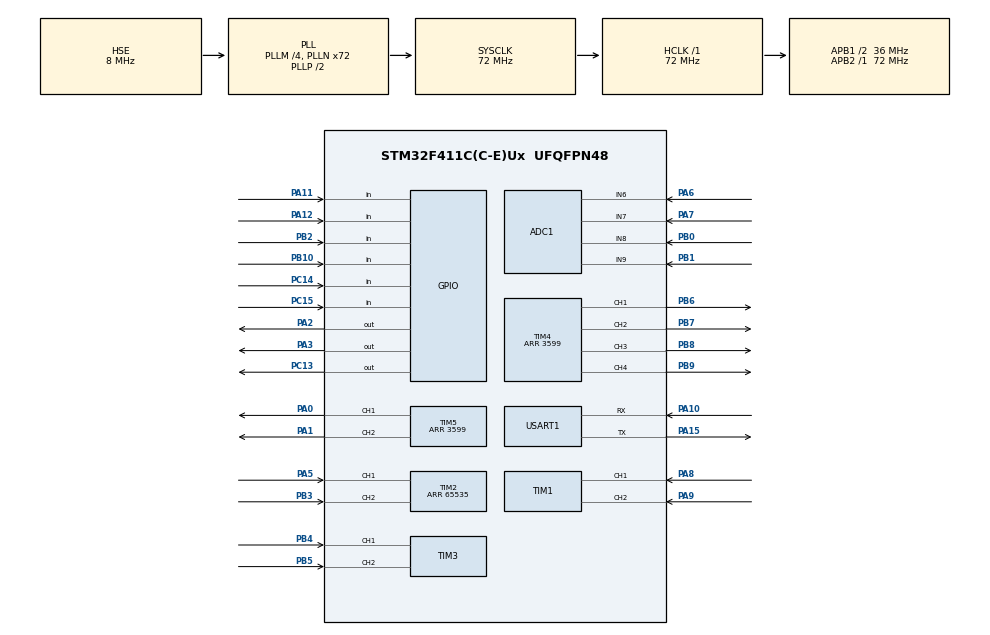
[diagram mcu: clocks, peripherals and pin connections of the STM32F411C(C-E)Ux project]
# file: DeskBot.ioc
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ADC1.Channel-3\#ChannelRegularConversion=ADC_CHANNEL_6
ADC1.NbrOfConversionFlag=1
ADC1.Rank-3\#ChannelRegularConversion=1
ADC1.SamplingTime-3\#ChannelRegularConversion=ADC_SAMPLETIME_3CYCLES
ADC1.master=1
Mcu.Family=STM32F4
Mcu.Name=STM32F411C(C-E)Ux
Mcu.Package=UFQFPN48
NVIC.PriorityGroup=NVIC_PRIORITYGROUP_4
NVIC.TIM1_BRK_TIM9_IRQn=true\:0\:0\:false\:false\:true\:true\:true\:true
NVIC.TIM1_TRG_COM_TIM11_IRQn=true\:0\:0\:false\:false\:true\:true\:true\:true
NVIC.TIM1_UP_TIM10_IRQn=true\:0\:0\:false\:false\:true\:true\:true\:true
NVIC.USART1_IRQn=true\:0\:0\:false\:false\:true\:true\:true\:true
PA0-WKUP.Signal=S_TIM5_CH1
PA1.Signal=S_TIM5_CH2
PA10.Mode=Asynchronous
PA10.Signal=USART1_RX
PA11.GPIO_PuPd=GPIO_PULLUP
PA11.Signal=GPIO_Input
PA12.Signal=GPIO_Input
PA13.Mode=Serial_Wire
PA13.Signal=SYS_JTMS-SWDIO
PA14.Mode=Serial_Wire
PA14.Signal=SYS_JTCK-SWCLK
PA15.Mode=Asynchronous
PA15.Signal=USART1_TX
PA2.GPIO_Speed=GPIO_SPEED_FREQ_MEDIUM
PA2.Signal=GPIO_Output
PA3.GPIO_Speed=GPIO_SPEED_FREQ_MEDIUM
PA3.Signal=GPIO_Output
PA5.Signal=S_TIM2_CH1_ETR
PA6.Signal=ADCx_IN6
PA7.Signal=ADCx_IN7
PA8.Signal=S_TIM1_CH1
PA9.Signal=S_TIM1_CH2
PB0.Signal=ADCx_IN8
PB1.Signal=ADCx_IN9
PB10.Signal=GPIO_Input
PB2.Signal=GPIO_Input
PB3.Signal=S_TIM2_CH2
PB4.Signal=S_TIM3_CH1
PB5.Signal=S_TIM3_CH2
PB6.Signal=S_TIM4_CH1
PB7.Signal=S_TIM4_CH2
PB8.Signal=S_TIM4_CH3
PB9.Signal=S_TIM4_CH4
PC13-ANTI_TAMP.Signal=GPIO_Output
PC14-OSC32_IN.GPIO_PuPd=GPIO_PULLUP
PC14-OSC32_IN.Signal=GPIO_Input
PC15-OSC32_OUT.GPIO_PuPd=GPIO_PULLUP
PC15-OSC32_OUT.Signal=GPIO_Input
PH0\ -\ OSC_IN.Mode=HSE-External-Oscillator
PH0\ -\ OSC_IN.Signal=RCC_OSC_IN
PH1\ -\ OSC_OUT.Mode=HSE-External-Oscillator
PH1\ -\ OSC_OUT.Signal=RCC_OSC_OUT
ProjectManager.HeapSize=0x200
ProjectManager.StackSize=0x400
ProjectManager.TargetToolchain=STM32CubeIDE
RCC.48MHZClocksFreq_Value=48000000
RCC.AHBFreq_Value=72000000
RCC.APB1CLKDivider=RCC_HCLK_DIV2
RCC.APB1Freq_Value=36000000
RCC.APB1TimFreq_Value=72000000
RCC.APB2Freq_Value=72000000
RCC.APB2TimFreq_Value=72000000
RCC.CortexFreq_Value=72000000
RCC.HCLKFreq_Value=72000000
RCC.HSE_VALUE=8000000
RCC.HSI_VALUE=16000000
RCC.LSE_VALUE=32768
RCC.PLLM=4
RCC.PLLN=72
RCC.PLLQ=3
RCC.PLLSourceVirtual=RCC_PLLSOURCE_HSE
RCC.SYSCLKFreq_VALUE=72000000
RCC.SYSCLKSource=RCC_SYSCLKSOURCE_PLLCLK
RCC.VCOOutputFreq_Value=144000000
SH.ADCx_IN6.0=ADC1_IN6,IN6
SH.ADCx_IN7.0=ADC1_IN7,IN7
SH.ADCx_IN8.0=ADC1_IN8,IN8
SH.ADCx_IN9.0=ADC1_IN9,IN9
SH.S_TIM1_CH1.0=TIM1_CH1,Encoder_Interface
SH.S_TIM1_CH2.0=TIM1_CH2,Encoder_Interface
SH.S_TIM2_CH1_ETR.0=TIM2_CH1,Encoder_Interface
SH.S_TIM2_CH2.0=TIM2_CH2,Encoder_Interface
SH.S_TIM3_CH1.0=TIM3_CH1,Encoder_Interface
SH.S_TIM3_CH2.0=TIM3_CH2,Encoder_Interface
SH.S_TIM4_CH1.0=TIM4_CH1,PWM Generation1 CH1
SH.S_TIM4_CH2.0=TIM4_CH2,PWM Generation2 CH2
SH.S_TIM4_CH3.0=TIM4_CH3,PWM Generation3 CH3
SH.S_TIM4_CH4.0=TIM4_CH4,PWM Generation4 CH4
SH.S_TIM5_CH1.0=TIM5_CH1,PWM Generation1 CH1
SH.S_TIM5_CH2.0=TIM5_CH2,PWM Generation2 CH2
TIM10.Period=799
TIM10.Prescaler=4499
TIM2.IC1Polarity=TIM_ICPOLARITY_FALLING
TIM2.IC2Polarity=TIM_ICPOLARITY_RISING
TIM2.Period=65535
TIM4.Channel-PWM\ Generation1\ CH1=TIM_CHANNEL_1
TIM4.Channel-PWM\ Generation2\ CH2=TIM_CHANNEL_2
TIM4.Channel-PWM\ Generation3\ CH3=TIM_CHANNEL_3
TIM4.Channel-PWM\ Generation4\ CH4=TIM_CHANNEL_4
TIM4.Period=3599
TIM5.Channel-PWM\ Generation1\ CH1=TIM_CHANNEL_1
TIM5.Channel-PWM\ Generation2\ CH2=TIM_CHANNEL_2
TIM5.Period=3599
TIM9.Period=4
TIM9.Prescaler=71
USART1.VirtualMode=VM_ASYNC
VP_TIM10_VS_ClockSourceINT.Mode=Enable_Timer
VP_TIM9_VS_ClockSourceINT.Mode=Internal
board=custom

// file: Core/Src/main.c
/* USER CODE BEGIN Header */
/**
  ******************************************************************************
  * @file           : main.c
  * @brief          : Main program body
  ******************************************************************************
  * @attention
  *
  * Copyright (c) 2025 STMicroelectronics.
  * All rights reserved.
  *
  * This software is licensed under terms that can be found in the LICENSE file
  * in the root directory of this software component.
  * If no LICENSE file comes with this software, it is provided AS-IS.
  *
  ******************************************************************************
  */
/* USER CODE END Header */
#include "main.h"

/* USER CODE BEGIN Includes */
#include"motor.h"
#include "controller.h"
#include "joint.h"
#include "servo.h"
#include "limit_switch.h"
#include "uart.h"
/* USER CODE END Includes */

ADC_HandleTypeDef hadc1;

TIM_HandleTypeDef htim1;
TIM_HandleTypeDef htim2;
TIM_HandleTypeDef htim3;
TIM_HandleTypeDef htim4;
TIM_HandleTypeDef htim5;
TIM_HandleTypeDef htim9;
TIM_HandleTypeDef htim10;

UART_HandleTypeDef huart1;

/* USER CODE BEGIN PV */

motor_t motor_1;
motor_t motor_2;
motor_t motor_3;

PIDController motor1_pos;
PIDController motor1_vel;
PIDController motor2_pos;
PIDController motor2_vel;
PIDController motor3_pos;
PIDController motor3_vel;

joint shoulderYaw;
joint shoulderPitch;
joint elbowPitch;

LimitSwitch shoulderYawLMSW;
LimitSwitch shoulderPitchLMSW;
LimitSwitch elbowPitchLMSW;

bool calibrated[3] = { 0 };

JointAngles angles;
int32_t commands[5] = {0,0,0,90,0};

/* USER CODE END PV */

void SystemClock_Config(void);
static void MX_GPIO_Init(void);
static void MX_ADC1_Init(void);
static void MX_TIM1_Init(void);
static void MX_TIM2_Init(void);
static void MX_TIM3_Init(void);
static void MX_TIM4_Init(void);
static void MX_TIM5_Init(void);
static void MX_USART1_UART_Init(void);
static void MX_TIM10_Init(void);
static void MX_TIM9_Init(void);

/**
 * @brief Main program entry point.
 *
 * This function initializes all hardware peripherals, sets up motors,
 * PID controllers, and enters a loop that:
 * - Performs joint homing using limit switches
 * - Parses UART-based angle commands
 * - Updates joint setpoints and servo angles
 *
 * @retval int Always returns 0.
 */
int main(void)
{

  /* MCU Configuration--------------------------------------------------------*/

  /* Reset of all peripherals, Initializes the Flash interface and the Systick. */
  HAL_Init();

  /* Configure the system clock */
  SystemClock_Config();

  /* Initialize all configured peripherals */
  MX_GPIO_Init();
  MX_ADC1_Init();
  MX_TIM1_Init();
  MX_TIM2_Init();
  MX_TIM3_Init();
  MX_TIM4_Init();
  MX_TIM5_Init();
  MX_USART1_UART_Init();
  MX_TIM10_Init();
  MX_TIM9_Init();
  /* USER CODE BEGIN 2 */
  HAL_TIM_PWM_Start(&htim4,TIM_CHANNEL_1);
  HAL_TIM_PWM_Start(&htim4,TIM_CHANNEL_2);
  HAL_TIM_PWM_Start(&htim4,TIM_CHANNEL_3);
  HAL_TIM_PWM_Start(&htim4,TIM_CHANNEL_4);
  HAL_TIM_PWM_Start(&htim5,TIM_CHANNEL_1);
  HAL_TIM_PWM_Start(&htim5,TIM_CHANNEL_2);

  HAL_TIM_Encoder_Start(&htim1, TIM_CHANNEL_ALL);
  HAL_TIM_Encoder_Start(&htim2, TIM_CHANNEL_ALL);
  HAL_TIM_Encoder_Start(&htim3, TIM_CHANNEL_ALL);

  Motor_Init(&motor_1,&htim4,TIM_CHANNEL_1,TIM_CHANNEL_2);
  Motor_Init(&motor_2,&htim4,TIM_CHANNEL_3,TIM_CHANNEL_4);
  Motor_Init(&motor_3,&htim5,TIM_CHANNEL_1,TIM_CHANNEL_2);

  //PID_Init(PIDController* pid, float kp, float ki, float kd, float out_min, float out_max);
  PID_Init(&motor1_pos,0.4,0.062,40,750,15,-150,150);//max/min is ticks/ms
  PID_Init(&motor1_vel,0.4,0.085,60,350,3,-80,80); //output is PWM signal

  PID_Init(&motor2_pos,0.4,0.062,0,750,20,-100,100);//max/min is ticks/ms
  PID_Init(&motor2_vel,0.4,0.085,0,350,4,-80,80); //output is PWM signal

  PID_Init(&motor3_pos,0.4,0.062,0,750,20,-200,200);//max/min is ticks/ms
  PID_Init(&motor3_vel,0.4,0.085,0,350,4,-80,80); //output is PWM signal

  //Joint_Init(Joint* joint, motor* p_mot, TIM_HandleTypeDef* encoderHandle,
	//PIDController* pos_pid,PIDController* vel_pid);
  Joint_Init(&shoulderYaw,&motor_1,&htim1,&motor1_pos,&motor1_vel);
  Joint_Init(&shoulderPitch,&motor_2,&htim2,&motor2_pos,&motor2_vel);
  Joint_Init(&elbowPitch,&motor_3,&htim3,&motor3_pos,&motor3_vel);

  LimitSwitch_Init(&shoulderYawLMSW,GPIOC, GPIO_PIN_14);
  LimitSwitch_Init(&shoulderPitchLMSW,GPIOA,GPIO_PIN_11);
  LimitSwitch_Init(&elbowPitchLMSW,GPIOC,GPIO_PIN_15);

  HAL_TIM_Base_Start_IT(&htim10);
  servo_init_timer(&htim9);

  int8_t gripperServo = servo_add(GPIOA, 3);  // PA2 - Gripper
  int8_t wristServo = servo_add(GPIOA, 2);  // PA3 - Wrist

  UART_Init(&huart1);
  /* USER CODE END 2 */

  /* Infinite loop */
  while (1)
  {

    /* USER CODE BEGIN 3 */
	  while (!(calibrated[0] && calibrated[1] && calibrated[2])) {
		  // Loop until all flags are true
		  if(!calibrated[0])
		  {
			  calibrated[0] = Joint_Home(&shoulderYaw,&shoulderYawLMSW,1,60);
		  }
		  if(!calibrated[1])
		  {
			  calibrated[1] = Joint_Home(&shoulderPitch,&shoulderPitchLMSW,1,60);
		  }
		  if(!calibrated[2])
		  {
			  calibrated[2] = Joint_Home(&elbowPitch,&elbowPitchLMSW,-1,75);
		  }
	  }
	  UART_ProcessReceivedData(); // Non-blocking parse handler
	      if (UART_GetLatestAngles(&angles)) {
	    	  //27.125 encoder ticks/deg for base
	    	  //108.5 for the shoulder and elbow
	    	  //replace this with a IK solver in the future...
	    	  commands[0] = (int)13.56*angles.theta1;
	    	  commands[1] = -1*(int)54.25*angles.theta2;
	    	  commands[2] = (int)54.25*angles.theta3;
	    	  commands[3] = angles.theta4;
	    	  commands[4] = angles.theta5;
	    	  shoulderYaw.desired_position = commands[0];
	    	  shoulderPitch.desired_position = commands[1];
	    	  elbowPitch.desired_position = commands[2];
	    	  servo_set_angle(wristServo,commands[3]);
	    	  servo_set_angle(gripperServo,commands[4]);
	      }
  }
  /* USER CODE END 3 */
}

void SystemClock_Config(void)
{
  RCC_OscInitTypeDef RCC_OscInitStruct = {0};
  RCC_ClkInitTypeDef RCC_ClkInitStruct = {0};

  /** Configure the main internal regulator output voltage
  */
  __HAL_RCC_PWR_CLK_ENABLE();
  __HAL_PWR_VOLTAGESCALING_CONFIG(PWR_REGULATOR_VOLTAGE_SCALE1);

  /** Initializes the RCC Oscillators according to the specified parameters
  * in the RCC_OscInitTypeDef structure.
  */
  RCC_OscInitStruct.OscillatorType = RCC_OSCILLATORTYPE_HSE;
  RCC_OscInitStruct.HSEState = RCC_HSE_ON;
  RCC_OscInitStruct.PLL.PLLState = RCC_PLL_ON;
  RCC_OscInitStruct.PLL.PLLSource = RCC_PLLSOURCE_HSE;
  RCC_OscInitStruct.PLL.PLLM = 4;
  RCC_OscInitStruct.PLL.PLLN = 72;
  RCC_OscInitStruct.PLL.PLLP = RCC_PLLP_DIV2;
  RCC_OscInitStruct.PLL.PLLQ = 3;
  if (HAL_RCC_OscConfig(&RCC_OscInitStruct) != HAL_OK)
  {
    Error_Handler();
  }

  /** Initializes the CPU, AHB and APB buses clocks
  */
  RCC_ClkInitStruct.ClockType = RCC_CLOCKTYPE_HCLK|RCC_CLOCKTYPE_SYSCLK
                              |RCC_CLOCKTYPE_PCLK1|RCC_CLOCKTYPE_PCLK2;
  RCC_ClkInitStruct.SYSCLKSource = RCC_SYSCLKSOURCE_PLLCLK;
  RCC_ClkInitStruct.AHBCLKDivider = RCC_SYSCLK_DIV1;
  RCC_ClkInitStruct.APB1CLKDivider = RCC_HCLK_DIV2;
  RCC_ClkInitStruct.APB2CLKDivider = RCC_HCLK_DIV1;

  if (HAL_RCC_ClockConfig(&RCC_ClkInitStruct, FLASH_LATENCY_2) != HAL_OK)
  {
    Error_Handler();
  }
}

static void MX_ADC1_Init(void)
{

  ADC_ChannelConfTypeDef sConfig = {0};

  /** Configure the global features of the ADC (Clock, Resolution, Data Alignment and number of conversion)
  */
  hadc1.Instance = ADC1;
  hadc1.Init.ClockPrescaler = ADC_CLOCK_SYNC_PCLK_DIV2;
  hadc1.Init.Resolution = ADC_RESOLUTION_12B;
  hadc1.Init.ScanConvMode = DISABLE;
  hadc1.Init.ContinuousConvMode = DISABLE;
  hadc1.Init.DiscontinuousConvMode = DISABLE;
  hadc1.Init.ExternalTrigConvEdge = ADC_EXTERNALTRIGCONVEDGE_NONE;
  hadc1.Init.ExternalTrigConv = ADC_SOFTWARE_START;
  hadc1.Init.DataAlign = ADC_DATAALIGN_RIGHT;
  hadc1.Init.NbrOfConversion = 1;
  hadc1.Init.DMAContinuousRequests = DISABLE;
  hadc1.Init.EOCSelection = ADC_EOC_SINGLE_CONV;
  if (HAL_ADC_Init(&hadc1) != HAL_OK)
  {
    Error_Handler();
  }

  /** Configure for the selected ADC regular channel its corresponding rank in the sequencer and its sample time.
  */
  sConfig.Channel = ADC_CHANNEL_6;
  sConfig.Rank = 1;
  sConfig.SamplingTime = ADC_SAMPLETIME_3CYCLES;
  if (HAL_ADC_ConfigChannel(&hadc1, &sConfig) != HAL_OK)
  {
    Error_Handler();
  }

}

static void MX_TIM1_Init(void)
{

  TIM_Encoder_InitTypeDef sConfig = {0};
  TIM_MasterConfigTypeDef sMasterConfig = {0};

  htim1.Instance = TIM1;
  htim1.Init.Prescaler = 0;
  htim1.Init.CounterMode = TIM_COUNTERMODE_UP;
  htim1.Init.Period = 65535;
  htim1.Init.ClockDivision = TIM_CLOCKDIVISION_DIV1;
  htim1.Init.RepetitionCounter = 0;
  htim1.Init.AutoReloadPreload = TIM_AUTORELOAD_PRELOAD_DISABLE;
  sConfig.EncoderMode = TIM_ENCODERMODE_TI1;
  sConfig.IC1Polarity = TIM_ICPOLARITY_RISING;
  sConfig.IC1Selection = TIM_ICSELECTION_DIRECTTI;
  sConfig.IC1Prescaler = TIM_ICPSC_DIV1;
  sConfig.IC1Filter = 0;
  sConfig.IC2Polarity = TIM_ICPOLARITY_RISING;
  sConfig.IC2Selection = TIM_ICSELECTION_DIRECTTI;
  sConfig.IC2Prescaler = TIM_ICPSC_DIV1;
  sConfig.IC2Filter = 0;
  if (HAL_TIM_Encoder_Init(&htim1, &sConfig) != HAL_OK)
  {
    Error_Handler();
  }
  sMasterConfig.MasterOutputTrigger = TIM_TRGO_RESET;
  sMasterConfig.MasterSlaveMode = TIM_MASTERSLAVEMODE_DISABLE;
  if (HAL_TIMEx_MasterConfigSynchronization(&htim1, &sMasterConfig) != HAL_OK)
  {
    Error_Handler();
  }

}

static void MX_TIM2_Init(void)
{

  TIM_Encoder_InitTypeDef sConfig = {0};
  TIM_MasterConfigTypeDef sMasterConfig = {0};

  htim2.Instance = TIM2;
  htim2.Init.Prescaler = 0;
  htim2.Init.CounterMode = TIM_COUNTERMODE_UP;
  htim2.Init.Period = 65535;
  htim2.Init.ClockDivision = TIM_CLOCKDIVISION_DIV1;
  htim2.Init.AutoReloadPreload = TIM_AUTORELOAD_PRELOAD_DISABLE;
  sConfig.EncoderMode = TIM_ENCODERMODE_TI1;
  sConfig.IC1Polarity = TIM_ICPOLARITY_FALLING;
  sConfig.IC1Selection = TIM_ICSELECTION_DIRECTTI;
  sConfig.IC1Prescaler = TIM_ICPSC_DIV1;
  sConfig.IC1Filter = 0;
  sConfig.IC2Polarity = TIM_ICPOLARITY_RISING;
  sConfig.IC2Selection = TIM_ICSELECTION_DIRECTTI;
  sConfig.IC2Prescaler = TIM_ICPSC_DIV1;
  sConfig.IC2Filter = 0;
  if (HAL_TIM_Encoder_Init(&htim2, &sConfig) != HAL_OK)
  {
    Error_Handler();
  }
  sMasterConfig.MasterOutputTrigger = TIM_TRGO_RESET;
  sMasterConfig.MasterSlaveMode = TIM_MASTERSLAVEMODE_DISABLE;
  if (HAL_TIMEx_MasterConfigSynchronization(&htim2, &sMasterConfig) != HAL_OK)
  {
    Error_Handler();
  }

}

static void MX_TIM3_Init(void)
{

  TIM_Encoder_InitTypeDef sConfig = {0};
  TIM_MasterConfigTypeDef sMasterConfig = {0};

  htim3.Instance = TIM3;
  htim3.Init.Prescaler = 0;
  htim3.Init.CounterMode = TIM_COUNTERMODE_UP;
  htim3.Init.Period = 65535;
  htim3.Init.ClockDivision = TIM_CLOCKDIVISION_DIV1;
  htim3.Init.AutoReloadPreload = TIM_AUTORELOAD_PRELOAD_DISABLE;
  sConfig.EncoderMode = TIM_ENCODERMODE_TI1;
  sConfig.IC1Polarity = TIM_ICPOLARITY_RISING;
  sConfig.IC1Selection = TIM_ICSELECTION_DIRECTTI;
  sConfig.IC1Prescaler = TIM_ICPSC_DIV1;
  sConfig.IC1Filter = 0;
  sConfig.IC2Polarity = TIM_ICPOLARITY_RISING;
  sConfig.IC2Selection = TIM_ICSELECTION_DIRECTTI;
  sConfig.IC2Prescaler = TIM_ICPSC_DIV1;
  sConfig.IC2Filter = 0;
  if (HAL_TIM_Encoder_Init(&htim3, &sConfig) != HAL_OK)
  {
    Error_Handler();
  }
  sMasterConfig.MasterOutputTrigger = TIM_TRGO_RESET;
  sMasterConfig.MasterSlaveMode = TIM_MASTERSLAVEMODE_DISABLE;
  if (HAL_TIMEx_MasterConfigSynchronization(&htim3, &sMasterConfig) != HAL_OK)
  {
    Error_Handler();
  }

}

static void MX_TIM4_Init(void)
{

  TIM_MasterConfigTypeDef sMasterConfig = {0};
  TIM_OC_InitTypeDef sConfigOC = {0};

  htim4.Instance = TIM4;
  htim4.Init.Prescaler = 0;
  htim4.Init.CounterMode = TIM_COUNTERMODE_UP;
  htim4.Init.Period = 3599;
  htim4.Init.ClockDivision = TIM_CLOCKDIVISION_DIV1;
  htim4.Init.AutoReloadPreload = TIM_AUTORELOAD_PRELOAD_DISABLE;
  if (HAL_TIM_PWM_Init(&htim4) != HAL_OK)
  {
    Error_Handler();
  }
  sMasterConfig.MasterOutputTrigger = TIM_TRGO_RESET;
  sMasterConfig.MasterSlaveMode = TIM_MASTERSLAVEMODE_DISABLE;
  if (HAL_TIMEx_MasterConfigSynchronization(&htim4, &sMasterConfig) != HAL_OK)
  {
    Error_Handler();
  }
  sConfigOC.OCMode = TIM_OCMODE_PWM1;
  sConfigOC.Pulse = 0;
  sConfigOC.OCPolarity = TIM_OCPOLARITY_HIGH;
  sConfigOC.OCFastMode = TIM_OCFAST_DISABLE;
  if (HAL_TIM_PWM_ConfigChannel(&htim4, &sConfigOC, TIM_CHANNEL_1) != HAL_OK)
  {
    Error_Handler();
  }
  if (HAL_TIM_PWM_ConfigChannel(&htim4, &sConfigOC, TIM_CHANNEL_2) != HAL_OK)
  {
    Error_Handler();
  }
  if (HAL_TIM_PWM_ConfigChannel(&htim4, &sConfigOC, TIM_CHANNEL_3) != HAL_OK)
  {
    Error_Handler();
  }
  if (HAL_TIM_PWM_ConfigChannel(&htim4, &sConfigOC, TIM_CHANNEL_4) != HAL_OK)
  {
    Error_Handler();
  }
  HAL_TIM_MspPostInit(&htim4);

}

static void MX_TIM5_Init(void)
{

  TIM_MasterConfigTypeDef sMasterConfig = {0};
  TIM_OC_InitTypeDef sConfigOC = {0};

  htim5.Instance = TIM5;
  htim5.Init.Prescaler = 0;
  htim5.Init.CounterMode = TIM_COUNTERMODE_UP;
  htim5.Init.Period = 3599;
  htim5.Init.ClockDivision = TIM_CLOCKDIVISION_DIV1;
  htim5.Init.AutoReloadPreload = TIM_AUTORELOAD_PRELOAD_DISABLE;
  if (HAL_TIM_PWM_Init(&htim5) != HAL_OK)
  {
    Error_Handler();
  }
  sMasterConfig.MasterOutputTrigger = TIM_TRGO_RESET;
  sMasterConfig.MasterSlaveMode = TIM_MASTERSLAVEMODE_DISABLE;
  if (HAL_TIMEx_MasterConfigSynchronization(&htim5, &sMasterConfig) != HAL_OK)
  {
    Error_Handler();
  }
  sConfigOC.OCMode = TIM_OCMODE_PWM1;
  sConfigOC.Pulse = 0;
  sConfigOC.OCPolarity = TIM_OCPOLARITY_HIGH;
  sConfigOC.OCFastMode = TIM_OCFAST_DISABLE;
  if (HAL_TIM_PWM_ConfigChannel(&htim5, &sConfigOC, TIM_CHANNEL_1) != HAL_OK)
  {
    Error_Handler();
  }
  if (HAL_TIM_PWM_ConfigChannel(&htim5, &sConfigOC, TIM_CHANNEL_2) != HAL_OK)
  {
    Error_Handler();
  }
  HAL_TIM_MspPostInit(&htim5);

}

static void MX_TIM9_Init(void)
{

  TIM_ClockConfigTypeDef sClockSourceConfig = {0};

  htim9.Instance = TIM9;
  htim9.Init.Prescaler = 71;
  htim9.Init.CounterMode = TIM_COUNTERMODE_UP;
  htim9.Init.Period = 4;
  htim9.Init.ClockDivision = TIM_CLOCKDIVISION_DIV1;
  htim9.Init.AutoReloadPreload = TIM_AUTORELOAD_PRELOAD_DISABLE;
  if (HAL_TIM_Base_Init(&htim9) != HAL_OK)
  {
    Error_Handler();
  }
  sClockSourceConfig.ClockSource = TIM_CLOCKSOURCE_INTERNAL;
  if (HAL_TIM_ConfigClockSource(&htim9, &sClockSourceConfig) != HAL_OK)
  {
    Error_Handler();
  }

}

static void MX_TIM10_Init(void)
{

  htim10.Instance = TIM10;
  htim10.Init.Prescaler = 4499;
  htim10.Init.CounterMode = TIM_COUNTERMODE_UP;
  htim10.Init.Period = 799;
  htim10.Init.ClockDivision = TIM_CLOCKDIVISION_DIV1;
  htim10.Init.AutoReloadPreload = TIM_AUTORELOAD_PRELOAD_DISABLE;
  if (HAL_TIM_Base_Init(&htim10) != HAL_OK)
  {
    Error_Handler();
  }

}

static void MX_USART1_UART_Init(void)
{

  huart1.Instance = USART1;
  huart1.Init.BaudRate = 115200;
  huart1.Init.WordLength = UART_WORDLENGTH_8B;
  huart1.Init.StopBits = UART_STOPBITS_1;
  huart1.Init.Parity = UART_PARITY_NONE;
  huart1.Init.Mode = UART_MODE_TX_RX;
  huart1.Init.HwFlowCtl = UART_HWCONTROL_NONE;
  huart1.Init.OverSampling = UART_OVERSAMPLING_16;
  if (HAL_UART_Init(&huart1) != HAL_OK)
  {
    Error_Handler();
  }

}

static void MX_GPIO_Init(void)
{
  GPIO_InitTypeDef GPIO_InitStruct = {0};

  /* GPIO Ports Clock Enable */
  __HAL_RCC_GPIOC_CLK_ENABLE();
  __HAL_RCC_GPIOH_CLK_ENABLE();
  __HAL_RCC_GPIOA_CLK_ENABLE();
  __HAL_RCC_GPIOB_CLK_ENABLE();

  /*Configure GPIO pin Output Level */
  HAL_GPIO_WritePin(GPIOC, GPIO_PIN_13, GPIO_PIN_RESET);

  /*Configure GPIO pin Output Level */
  HAL_GPIO_WritePin(GPIOA, GPIO_PIN_2|GPIO_PIN_3, GPIO_PIN_RESET);

  /*Configure GPIO pin : PC13 */
  GPIO_InitStruct.Pin = GPIO_PIN_13;
  GPIO_InitStruct.Mode = GPIO_MODE_OUTPUT_PP;
  GPIO_InitStruct.Pull = GPIO_NOPULL;
  GPIO_InitStruct.Speed = GPIO_SPEED_FREQ_LOW;
  HAL_GPIO_Init(GPIOC, &GPIO_InitStruct);

  /*Configure GPIO pins : PC14 PC15 */
  GPIO_InitStruct.Pin = GPIO_PIN_14|GPIO_PIN_15;
  GPIO_InitStruct.Mode = GPIO_MODE_INPUT;
  GPIO_InitStruct.Pull = GPIO_PULLUP;
  HAL_GPIO_Init(GPIOC, &GPIO_InitStruct);

  /*Configure GPIO pins : PA2 PA3 */
  GPIO_InitStruct.Pin = GPIO_PIN_2|GPIO_PIN_3;
  GPIO_InitStruct.Mode = GPIO_MODE_OUTPUT_PP;
  GPIO_InitStruct.Pull = GPIO_NOPULL;
  GPIO_InitStruct.Speed = GPIO_SPEED_FREQ_MEDIUM;
  HAL_GPIO_Init(GPIOA, &GPIO_InitStruct);

  /*Configure GPIO pins : PB2 PB10 */
  GPIO_InitStruct.Pin = GPIO_PIN_2|GPIO_PIN_10;
  GPIO_InitStruct.Mode = GPIO_MODE_INPUT;
  GPIO_InitStruct.Pull = GPIO_NOPULL;
  HAL_GPIO_Init(GPIOB, &GPIO_InitStruct);

  /*Configure GPIO pin : PA11 */
  GPIO_InitStruct.Pin = GPIO_PIN_11;
  GPIO_InitStruct.Mode = GPIO_MODE_INPUT;
  GPIO_InitStruct.Pull = GPIO_PULLUP;
  HAL_GPIO_Init(GPIOA, &GPIO_InitStruct);

  /*Configure GPIO pin : PA12 */
  GPIO_InitStruct.Pin = GPIO_PIN_12;
  GPIO_InitStruct.Mode = GPIO_MODE_INPUT;
  GPIO_InitStruct.Pull = GPIO_NOPULL;
  HAL_GPIO_Init(GPIOA, &GPIO_InitStruct);

}

/* USER CODE BEGIN 4 */
/**
 * @brief Periodic interrupt callback from TIM10 and TIM9.
 *
 * TIM10: Triggers joint PID updates every 50 ms.
 * TIM9 : Triggers software PWM updates for servos.
 */
void HAL_TIM_PeriodElapsedCallback(TIM_HandleTypeDef *htim)
{
	if(htim->Instance == TIM10)
	{
		//PID CONTROL HERE
		Joint_Update(&shoulderYaw,50);
		Joint_Update(&shoulderPitch,50);
		Joint_Update(&elbowPitch,50);
	}
	if(htim->Instance == TIM9)
	{
		servo_update_tick();
	}
}
/* USER CODE END 4 */

void Error_Handler(void)
{
  __disable_irq();
  while (1)
  {
  }
}
